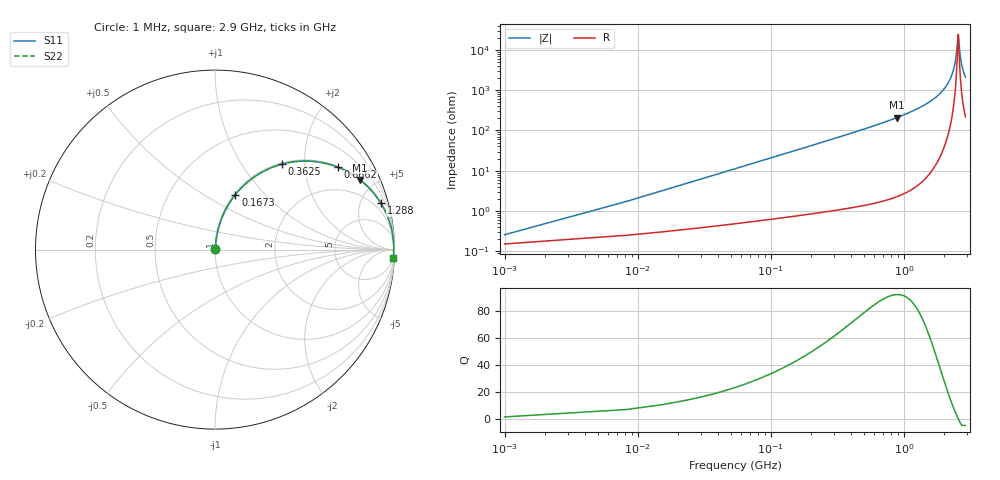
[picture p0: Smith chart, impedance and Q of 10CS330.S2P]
! Coilcraft 1008CS-330 Chip Inductor
! 02 July 2002
# MHZ S MA R 50
!Freq  MagS11  AngS11  MagS21  AngS21  MagS12  AngS12  MagS22  AngS22
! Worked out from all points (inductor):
!   402 points, 1 MHz to 2.9 GHz, reference 50 ohm
!   read as one part in series: L = 33 nH near 15.46 MHz
!   highest Q = 92.5 at 883.1 MHz (marker M1), where L = 37.5 nH
!   self-resonance near 2.56 GHz
!   S11 on the Smith chart (normalised r, x): 1 MHz: 1.00, +0.00; 167.3 MHz: 1.02, +0.70; 362.5 MHz: 1.02, +1.53; 666.2 MHz: 1.03, +2.96; 1.288 GHz: 1.09, +7.15; 2.9 GHz: 5, -42
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1  0.002566 53.7  0.9985 -0.1  0.9985 -0.1  0.002566 53.7
22.69  0.04696 83.1  0.9955 -2.7  0.9955 -2.7  0.04696 83.1
44.38  0.09136 82.0  0.9914 -5.2  0.9914 -5.2  0.09136 82.0
94.99  0.1925 77.1  0.9754 -11.1  0.9754 -11.1  0.1925 77.1
167.29  0.3268 69.7  0.9379 -19.1  0.9379 -19.1  0.3268 69.7
362.5  0.6043 52.0  0.7879 -37.2  0.7879 -37.2  0.6043 52.0
485.41  0.7176 43.4  0.6873 -45.9  0.6873 -45.9  0.7176 43.4
666.16  0.8245 33.8  0.5565 -55.5  0.5565 -55.5  0.8245 33.8
883.06  0.8973 25.6  0.4318 -63.8  0.4318 -63.8  0.8973 25.6
969.82  0.9164 23.0  0.3904 -66.4  0.3904 -66.4  0.9164 23.0
1287.94  0.9599 15.6  0.2686 -73.7  0.2686 -73.7  0.9599 15.6
1454.23  0.9727 12.6  0.2186 -76.5  0.2186 -76.5  0.9727 12.6
1938.64  0.9912 6.0  0.1054 -82.2  0.1054 -82.2  0.9912 6.0
2242.3  0.9952 2.9  0.05016 -83.1  0.05016 -83.1  0.9952 2.9
2423.05  0.9959 1.2  0.02122 -78.4  0.02122 -78.4  0.9959 1.2
2480.89  0.996 0.7  0.01265 -71.1  0.01265 -71.1  0.996 0.7
2560.42  0.9959 0.0  0.004105 -2.6  0.004105 -2.6  0.9959 0.0
2574.88  0.9959 -0.1  0.004555 24.9  0.004555 24.9  0.9959 -0.1
2639.95  0.9957 -0.6  0.01206 68.7  0.01206 68.7  0.9957 -0.6
2697.79  0.9954 -1.1  0.01989 76.2  0.01989 76.2  0.9954 -1.1
2784.55  0.9949 -1.8  0.03161 79.9  0.03161 79.9  0.9949 -1.8
2900  0.9941 -2.7  0.04678 81.4  0.04678 81.4  0.9941 -2.7
